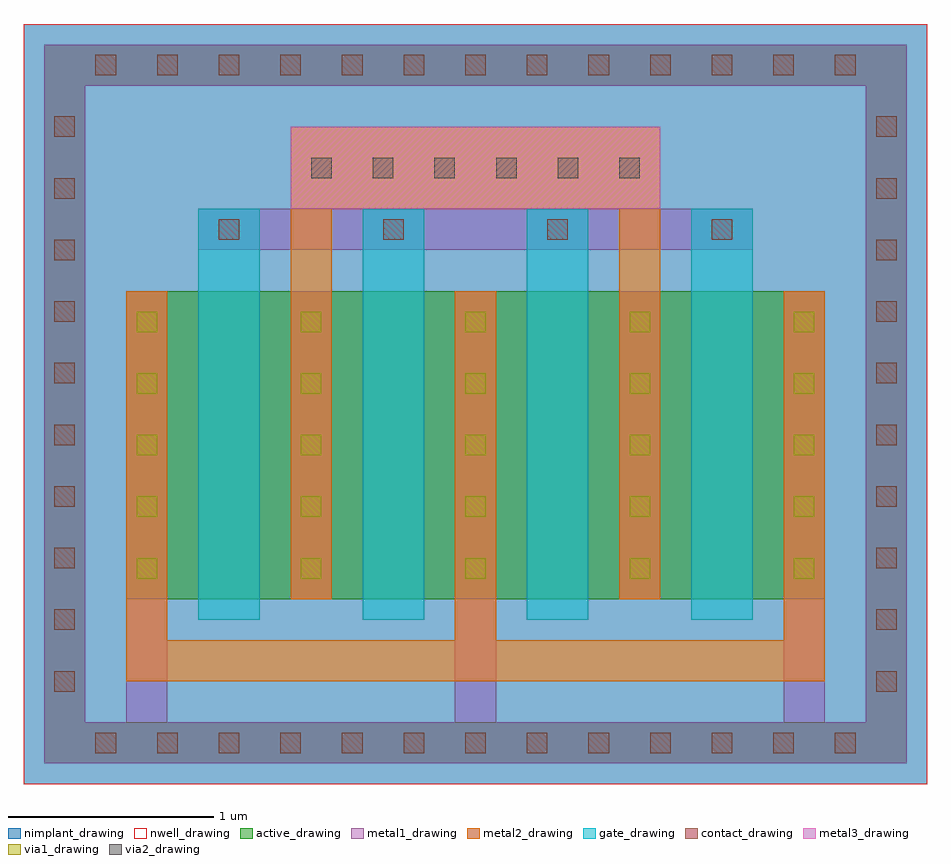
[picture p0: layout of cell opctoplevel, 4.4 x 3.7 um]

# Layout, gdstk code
import gdstk
lib = gdstk.Library(unit=1e-6, precision=1e-09)
def R(c, l, rs):  # rectangles x0, y0, x1, y1
    for r in rs: c.add(gdstk.rectangle(r[:2], r[2:], *l))
def A(c, l, x, y, w, h, nx, ny, dx, dy):  # array of equal rectangles
    R(c, l, [(x+i*dx, y+j*dy, x+i*dx+w, y+j*dy+h) for i in range(nx) for j in range(ny)])
active_drawing = (1, 0)
nwell_drawing = (3, 0)
nimplant_drawing = (5, 0)
gate_drawing = (6, 0)
contact_drawing = (7, 0)
metal1_drawing = (8, 0)
via1_drawing = (9, 0)
metal2_drawing = (10, 0)
via2_drawing = (11, 0)
metal3_drawing = (12, 0)

opctoplevel = lib.new_cell('opctoplevel')
R(opctoplevel, active_drawing, [(-0.75,-0.8,3.45,-0.6), (-0.75,-0.8,-0.55,2.7), (3.25,-0.8,3.45,2.7), (-0.35,0,3.05,1.5), (-0.75,2.5,3.45,2.7)])
R(opctoplevel, nwell_drawing, [(-0.85,-0.9,3.55,2.8)])
R(opctoplevel, nimplant_drawing, [(-0.85,-0.9,3.55,-0.5), (-0.85,-0.9,-0.45,2.8), (3.15,-0.9,3.55,2.8), (-0.45,-0.5,3.15,2.4), (-0.85,2.4,3.55,2.8)])
A(opctoplevel, gate_drawing, 0, -0.1, 0.3, 2, 4, 1, 0.8, 0)
A(opctoplevel, contact_drawing, -0.5, -0.75, 0.1, 0.1, 13, 2, 0.3, 3.3)
A(opctoplevel, contact_drawing, -0.7, -0.45, 0.1, 0.1, 1, 10, 0, 0.3)
A(opctoplevel, contact_drawing, 3.3, -0.45, 0.1, 0.1, 1, 10, 0, 0.3)
A(opctoplevel, contact_drawing, -0.3, 0.1, 0.1, 0.1, 5, 5, 0.8, 0.3)
A(opctoplevel, contact_drawing, 0.1, 1.75, 0.1, 0.1, 4, 1, 0.8, 0)
A(opctoplevel, metal1_drawing, -0.35, -0.6, 0.2, 0.6, 3, 1, 1.6, 0)
A(opctoplevel, metal1_drawing, -0.35, 0, 0.2, 1.5, 5, 1, 0.8, 0)
R(opctoplevel, metal1_drawing, [(-0.75,-0.8,3.45,-0.6), (-0.75,-0.8,-0.55,2.7), (3.25,-0.8,3.45,2.7), (0,1.7,2.7,1.9), (-0.75,2.5,3.45,2.7)])
A(opctoplevel, via1_drawing, -0.3, 0.1, 0.1, 0.1, 5, 5, 0.8, 0.3)
A(opctoplevel, metal2_drawing, -0.35, -0.2, 0.2, 0.2, 3, 1, 1.6, 0)
A(opctoplevel, metal2_drawing, -0.35, 0, 0.2, 1.5, 5, 1, 0.8, 0)
R(opctoplevel, metal2_drawing, [(-0.35,-0.4,3.05,-0.2), (0.45,1.5,0.65,1.9), (2.05,1.5,2.25,1.9), (0.45,1.9,2.25,2.3)])
A(opctoplevel, via2_drawing, 0.55, 2.05, 0.1, 0.1, 6, 1, 0.3, 0)
R(opctoplevel, metal3_drawing, [(0.45,1.9,2.25,2.3)])

lib.write_gds('opctoplevel.gds')
